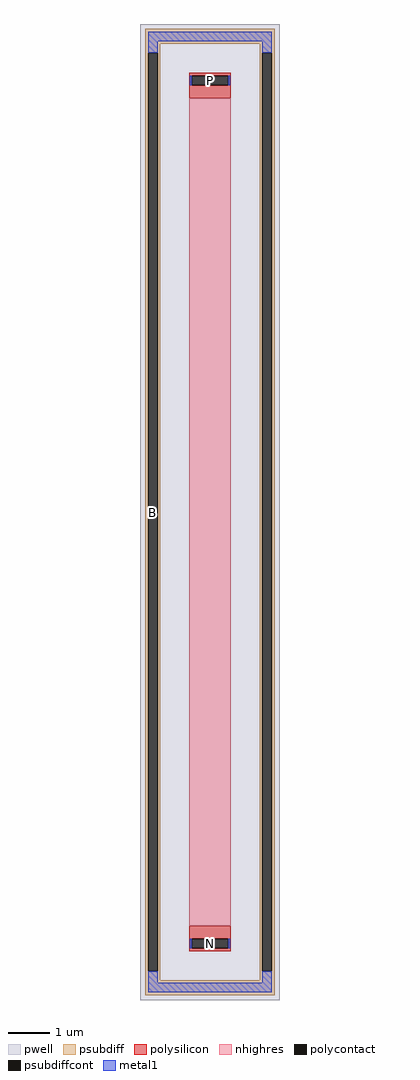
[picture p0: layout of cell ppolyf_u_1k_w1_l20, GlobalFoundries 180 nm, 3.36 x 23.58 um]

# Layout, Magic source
magic
tech gf180mcuD
magscale 1 10
<< pwell >>
rect -336 -2358 336 2358
<< psubdiff >>
rect -312 2262 312 2334
rect -312 2218 -240 2262
rect -312 -2218 -299 2218
rect -253 -2218 -240 2218
rect 240 2218 312 2262
rect -312 -2262 -240 -2218
rect 240 -2218 253 2218
rect 299 -2218 312 2218
rect 240 -2262 312 -2218
rect -312 -2334 312 -2262
<< psubdiffcont >>
rect -299 -2218 -253 2218
rect 253 -2218 299 2218
<< polysilicon >>
rect -100 2109 100 2122
rect -100 2063 -87 2109
rect 87 2063 100 2109
rect -100 2000 100 2063
rect -100 -2063 100 -2000
rect -100 -2109 -87 -2063
rect 87 -2109 100 -2063
rect -100 -2122 100 -2109
<< polycontact >>
rect -87 2063 87 2109
rect -87 -2109 87 -2063
<< nhighres >>
rect -100 -2000 100 2000
<< metal1 >>
rect -299 2275 299 2321
rect -299 2218 -253 2275
rect 253 2218 299 2275
rect -98 2063 -87 2109
rect 87 2063 98 2109
rect -98 -2109 -87 -2063
rect 87 -2109 98 -2063
rect -299 -2275 -253 -2218
rect 253 -2275 299 -2218
rect -299 -2321 299 -2275
<< labels >>
rlabel polycontact 0 2086 0 2086 0 P
port 1 nsew
rlabel polycontact 0 -2086 0 -2086 0 N
port 2 nsew
rlabel psubdiffcont -276 0 -276 0 0 B
port 4 nsew
<< properties >>
string FIXED_BBOX -276 -2298 276 2298
<< end >>
